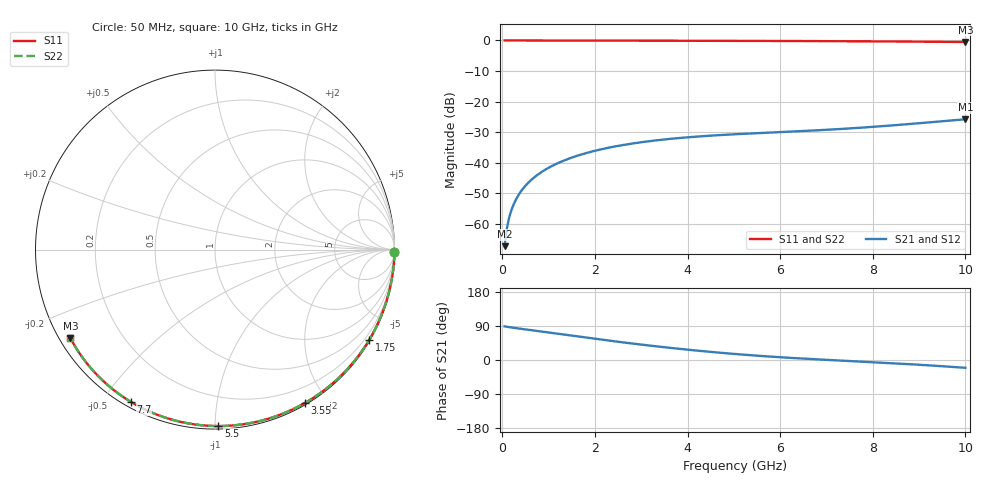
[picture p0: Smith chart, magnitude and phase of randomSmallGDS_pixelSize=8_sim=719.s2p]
! freq	dB(S11)	phase(S11)	dB(S12)	phase(S12)
!  dB(S21)	phase(S21)	dB(S22)	phase(S22)
!S-par simulation data
#  GHz  S  DB  R 50
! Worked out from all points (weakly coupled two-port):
!   200 points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, 50 MHz to 10 GHz, reference 50 ohm
!   highest |S21| = -25.77 dB at 10 GHz (marker M1); lowest = -67.3 dB at 50 MHz (marker M2)
!   lowest |S11| = -0.5 dB at 10 GHz (marker M3), VSWR 35.23, Z = 1.53 - j14.1 ohm
!   |S11| at or under -10 dB: nowhere
!   |S22| runs from -0.5 to 0.0 dB; largest |S21 - S12| = 0
!   S11 on the Smith chart (normalised r, x): 50 MHz: open; 1.75 GHz: 0.03, -3.70; 3.55 GHz: 0.02, -1.74; 5.5 GHz: 0.02, -1.02; 7.7 GHz: 0.02, -0.59; 10 GHz: 0.03, -0.28
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0.05  -0.00 -0.9  -67.26 88.8  -67.26 88.8  -0.00 -0.9
0.1  -0.00 -1.8  -61.28 87.6  -61.28 87.6  -0.00 -1.8
0.15  -0.00 -2.6  -57.80 86.6  -57.80 86.6  -0.00 -2.6
0.2  -0.00 -3.5  -55.33 85.7  -55.33 85.7  -0.00 -3.5
0.25  -0.00 -4.4  -53.43 84.9  -53.43 84.9  -0.00 -4.4
0.35  -0.00 -6.2  -50.55 83.2  -50.55 83.2  -0.00 -6.2
0.5  -0.01 -8.8  -47.50 80.7  -47.50 80.7  -0.01 -8.8
0.7  -0.01 -12.3  -44.63 77.4  -44.63 77.4  -0.01 -12.3
1  -0.02 -17.5  -41.62 72.4  -41.62 72.4  -0.02 -17.5
1.35  -0.03 -23.5  -39.15 66.5  -39.15 66.5  -0.03 -23.5
1.75  -0.04 -30.3  -37.09 59.9  -37.09 59.9  -0.04 -30.3
2.5  -0.06 -42.8  -34.47 48.1  -34.47 48.1  -0.06 -42.8
3.4  -0.08 -57.3  -32.53 35.0  -32.53 35.0  -0.08 -57.3
3.55  -0.08 -59.7  -32.29 33.0  -32.29 33.0  -0.08 -59.7
4.3  -0.10 -71.2  -31.33 23.6  -31.33 23.6  -0.10 -71.2
5.05  -0.13 -82.4  -30.65 15.6  -30.65 15.6  -0.13 -82.4
5.5  -0.15 -88.9  -30.31 11.4  -30.31 11.4  -0.15 -88.9
6.7  -0.21 -105.6  -29.46 2.4  -29.46 2.4  -0.21 -105.6
7.7  -0.27 -118.9  -28.57 -3.8  -28.57 -3.8  -0.27 -118.9
8.35  -0.32 -127.3  -27.86 -7.9  -27.86 -7.9  -0.32 -127.3
9.2  -0.40 -138.3  -26.81 -14.0  -26.81 -14.0  -0.40 -138.3
10  -0.49 -148.5  -25.77 -20.6  -25.77 -20.6  -0.49 -148.5
